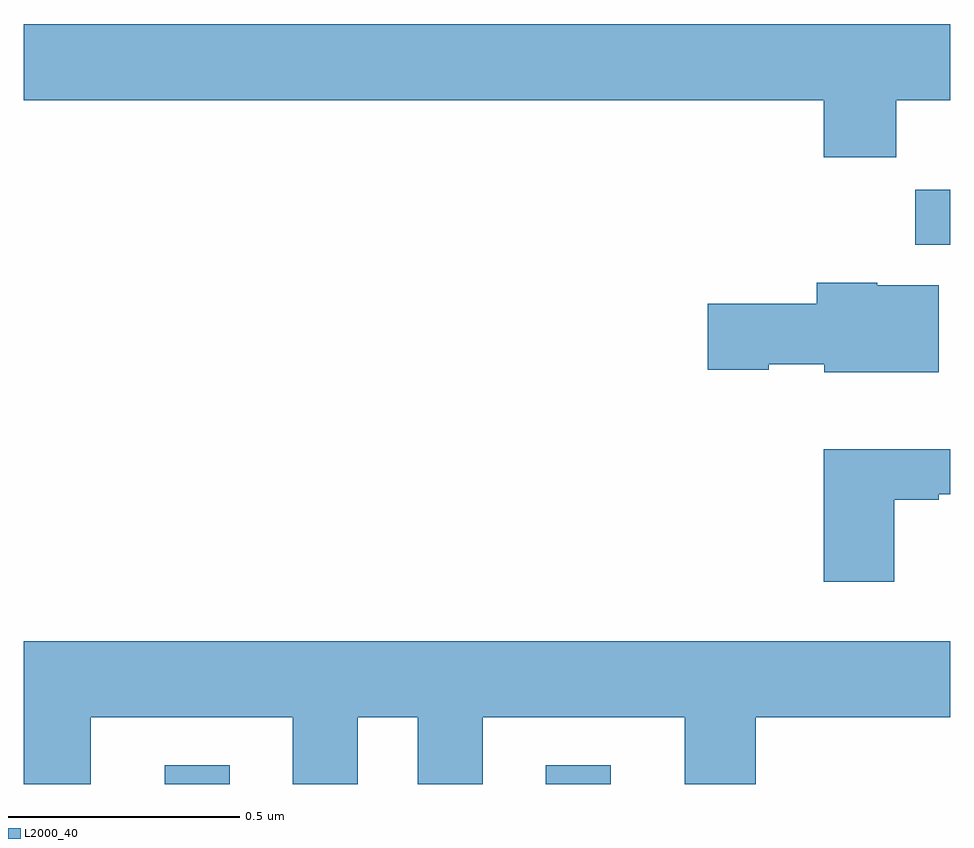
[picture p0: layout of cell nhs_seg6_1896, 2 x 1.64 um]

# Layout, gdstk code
import gdstk
lib = gdstk.Library(unit=1e-6, precision=1e-09)
def R(c, l, rs):  # rectangles x0, y0, x1, y1
    for r in rs: c.add(gdstk.rectangle(r[:2], r[2:], *l))
def P(c, l, *ps):  # polygons
    for p in ps: c.add(gdstk.Polygon(p, *l))
L2000_40 = (2000, 40)

nhs_seg6_1896 = lib.new_cell('nhs_seg6_1896')
R(nhs_seg6_1896, L2000_40, [(135.305,972.5,135.445,972.541), (136.127,972.5,136.267,972.541), (136.924,973.664,137,973.782)])
P(nhs_seg6_1896, L2000_40, [(136.883,973.976),(137,973.976),(137,974.14),(135,974.14),(135,973.976),(136.727,973.976),(136.727,973.852),(136.883,973.852)],
  [(136.975,973.576),(136.842,973.576),(136.842,973.582),(136.712,973.582),(136.712,973.536),(136.476,973.536),(136.476,973.394),(136.608,973.394),(136.608,973.406),(136.728,973.406),(136.728,973.388),(136.975,973.388)],
  [(136.879,973.113),(136.975,973.113),(136.975,973.125),(137,973.125),(137,973.222),(136.727,973.222),(136.727,972.936),(136.879,972.936)],
  [(135.145,972.644),(135.581,972.644),(135.581,972.5),(135.721,972.5),(135.721,972.644),(135.851,972.644),(135.851,972.5),(135.991,972.5),(135.991,972.644),(136.427,972.644),(136.427,972.5),(136.58,972.5),(136.58,972.644),(137,972.644),(137,972.808),(135,972.808),(135,972.5),(135.145,972.5)])

lib.write_gds('nhs_seg6_1896.gds')
